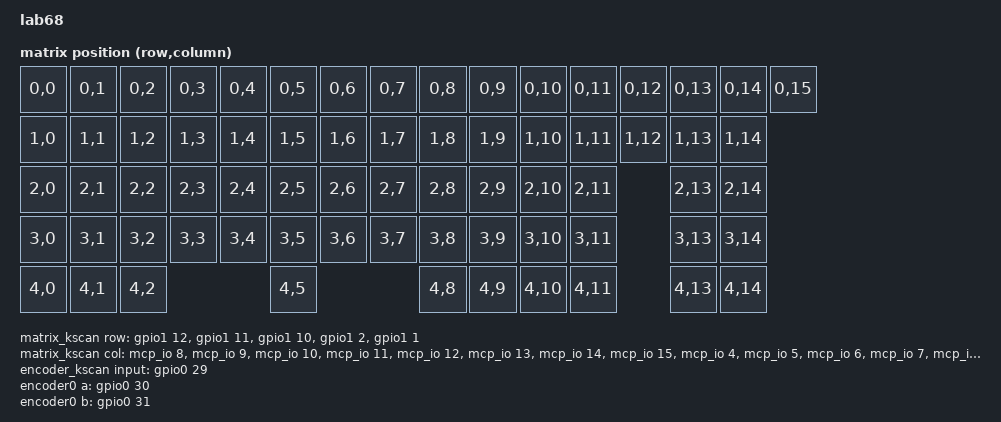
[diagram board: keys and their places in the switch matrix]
/*
 * Copyright (c) 2020 The ZMK Contributors
 *
 * SPDX-License-Identifier: MIT
 */

#include <nordic/nrf52840_qiaa.dtsi>
#include <dt-bindings/zmk/matrix_transform.h>
#include "lab68_mcuboot.overlay"

/ {
	model = "lab68";
	compatible = "dzervas,lab68";

	chosen {
		zmk,kscan = &kscan;
		zmk,matrix_transform = &default_transform;
		zmk,battery = &vbatt;
		// zephyr,console = &cdc_acm_uart;
		zephyr,display = &oled;
		zephyr,code-partition = &slot0_partition;
	};

	ext-power {
		compatible = "zmk,ext-power-generic";
		label = "EXT_POWER";
		init-delay-ms = <50>;
		control-gpios = <&gpio0 12 GPIO_ACTIVE_HIGH>;
	};

	sky13351 {
		compatible = "skyworks,sky13351";
		vctl1-gpios = <&gpio0 24 GPIO_ACTIVE_LOW>;
		vctl2-gpios = <&gpio0 25 GPIO_ACTIVE_LOW>;
	};

	vbatt: vbatt {
		compatible = "zmk,battery-voltage-divider";
		io-channels = <&adc 3>;
		output-ohms = <2000000>;
		full-ohms = <(2000000 + 806000)>;
	};

	kscan: kscan0 {
		compatible = "zmk,kscan-composite";
		rows = <5>;
		columns = <16>;

		matrix: matrix {
			kscan = <&matrix_kscan>;
		};

		encoder: encoder {
			kscan = <&encoder_kscan>;
			column-offset = <15>;
		};
	};

	matrix_kscan: kscan1 {
		compatible = "zmk,kscan-gpio-matrix";
		diode-direction = "col2row";

		col-gpios
			= <&mcp_io 8 (GPIO_ACTIVE_HIGH | GPIO_PULL_UP)>
			, <&mcp_io 9 (GPIO_ACTIVE_HIGH | GPIO_PULL_UP)>
			, <&mcp_io 10 (GPIO_ACTIVE_HIGH | GPIO_PULL_UP)>
			, <&mcp_io 11 (GPIO_ACTIVE_HIGH | GPIO_PULL_UP)>
			, <&mcp_io 12 (GPIO_ACTIVE_HIGH | GPIO_PULL_UP)>
			, <&mcp_io 13 (GPIO_ACTIVE_HIGH | GPIO_PULL_UP)>
			, <&mcp_io 14 (GPIO_ACTIVE_HIGH | GPIO_PULL_UP)>
			, <&mcp_io 15 (GPIO_ACTIVE_HIGH | GPIO_PULL_UP)>
			, <&mcp_io 4 (GPIO_ACTIVE_HIGH | GPIO_PULL_UP)>
			, <&mcp_io 5 (GPIO_ACTIVE_HIGH | GPIO_PULL_UP)>
			, <&mcp_io 6 (GPIO_ACTIVE_HIGH | GPIO_PULL_UP)>
			, <&mcp_io 7 (GPIO_ACTIVE_HIGH | GPIO_PULL_UP)>
			, <&mcp_io 3 (GPIO_ACTIVE_HIGH | GPIO_PULL_UP)>
			, <&mcp_io 2 (GPIO_ACTIVE_HIGH | GPIO_PULL_UP)>
			, <&mcp_io 1 (GPIO_ACTIVE_HIGH | GPIO_PULL_UP)>
			;
		row-gpios
			= <&gpio1 12 (GPIO_ACTIVE_HIGH | GPIO_PULL_DOWN)>
			, <&gpio1 11 (GPIO_ACTIVE_HIGH | GPIO_PULL_DOWN)>
			, <&gpio1 10 (GPIO_ACTIVE_HIGH | GPIO_PULL_DOWN)>
			, <&gpio1 2 (GPIO_ACTIVE_HIGH | GPIO_PULL_DOWN)>
			, <&gpio1 1 (GPIO_ACTIVE_HIGH | GPIO_PULL_DOWN)>
			;
	};

	encoder_kscan: kscan2 {
		compatible = "zmk,kscan-gpio-direct";
		debounce-period = <50>;
		label = "ENCODER_KSCAN";
		input-gpios
			= <&gpio0 29 (GPIO_ACTIVE_LOW | GPIO_PULL_UP)>
			;
	};

	default_transform: keymap_transform_0 {
		compatible = "zmk,matrix-transform";
		columns = <16>;
		rows = <5>;

		//TODO: Add a keymap graphic here

		map = <
RC(0,0) RC(0,1) RC(0,2) RC(0,3) RC(0,4) RC(0,5) RC(0,6) RC(0,7) RC(0,8)  RC(0,9) RC(0,10) RC(0,11) RC(0,12) RC(0,13) RC(0,14) RC(0, 15)
RC(1,0) RC(1,1) RC(1,2) RC(1,3) RC(1,4) RC(1,5) RC(1,6) RC(1,7) RC(1,8)  RC(1,9) RC(1,10) RC(1,11) RC(1,12) RC(1,13) RC(1,14)
RC(2,0) RC(2,1) RC(2,2) RC(2,3) RC(2,4) RC(2,5) RC(2,6) RC(2,7) RC(2,8)  RC(2,9) RC(2,10) RC(2,11)          RC(2,13) RC(2,14)
RC(3,0) RC(3,1) RC(3,2) RC(3,3) RC(3,4) RC(3,5) RC(3,6) RC(3,7) RC(3,8)  RC(3,9) RC(3,10) RC(3,11)          RC(3,13) RC(3,14)
RC(4,0) RC(4,1) RC(4,2)                 RC(4,5)                 RC(4,8)  RC(4,9) RC(4,10) RC(4,11)          RC(4,13) RC(4,14)
		>;
	};


	encoder0: encoder0 {
		compatible = "alps,ec11";
		label = "MAIN_ENCODER";
		a-gpios = <&gpio0 30 (GPIO_ACTIVE_LOW | GPIO_PULL_UP)>;
		b-gpios = <&gpio0 31 (GPIO_ACTIVE_LOW | GPIO_PULL_UP)>;
		resolution = <2>;
	};
};

&i2c0 {
	status = "okay";
	clock-frequency = <I2C_BITRATE_FAST>;
	compatible = "nordic,nrf-twim";
	zephyr,concat-buf-size = <2048>;

	mcp_io: mcp23017@20 {
		compatible = "microchip,mcp230xx";
		status = "okay";
		reg = <0x20>;
		// label = "MCP_IO";

		gpio-controller;
		#gpio-cells = <2>;
		ngpios = <16>;
	};

	oled: ssd1306@3c {
		compatible = "solomon,ssd1306fb";
		status = "okay";
		reg = <0x3c>;
		label = "DISPLAY";

		width = <128>;
		height = <32>;
		segment-offset = <0>;
		page-offset = <0>;
		display-offset = <0>;
		multiplex-ratio = <31>;
		com-invdir;
		segment-remap;
		com-sequential;
		prechargep = <0x22>;
	};
};

&adc {
	status = "okay";
};

&encoder0 {
	status = "okay";
};

&gpiote {
	status = "okay";
};

&gpio0 {
	status = "okay";
};

&gpio1 {
	status = "okay";
};

/delete-node/ &cdc_acm_uart;

&usbd {
	status = "okay";
};
